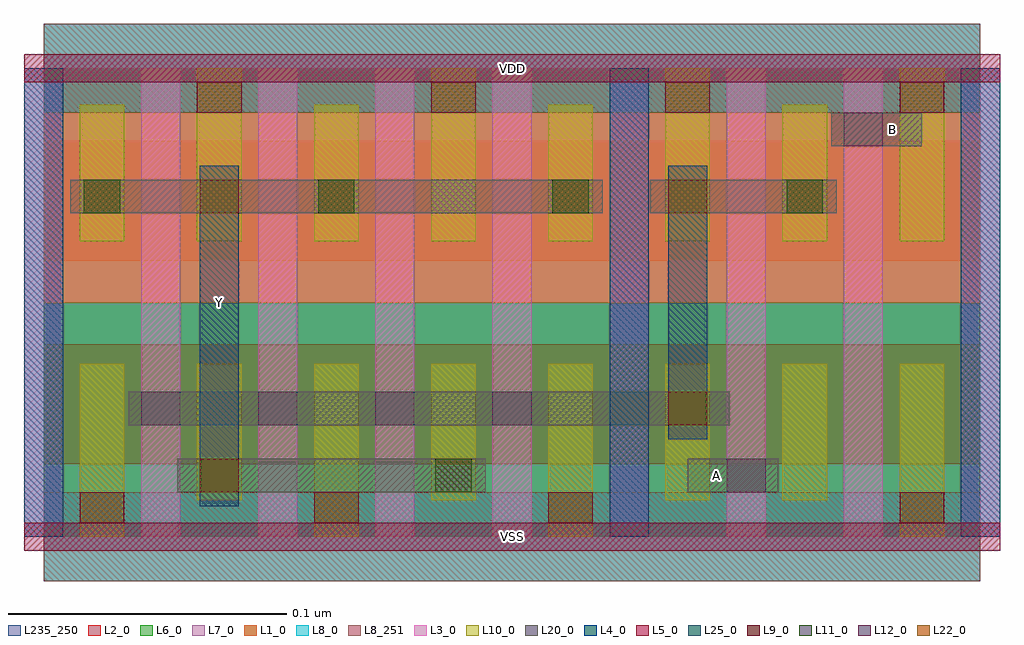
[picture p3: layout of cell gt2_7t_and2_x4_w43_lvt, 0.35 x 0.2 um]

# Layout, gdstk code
import gdstk
lib = gdstk.Library(unit=1e-6, precision=5e-10)
def R(c, l, rs):  # rectangles x0, y0, x1, y1
    for r in rs: c.add(gdstk.rectangle(r[:2], r[2:], *l))
def A(c, l, x, y, w, h, nx, ny, dx, dy):  # array of equal rectangles
    R(c, l, [(x+i*dx, y+j*dy, x+i*dx+w, y+j*dy+h) for i in range(nx) for j in range(ny)])
L1_0 = (1, 0)
L2_0 = (2, 0)
L3_0 = (3, 0)
L4_0 = (4, 0)
L5_0 = (5, 0)
L6_0 = (6, 0)
L7_0 = (7, 0)
L8_0 = (8, 0)
L8_251 = (8, 251)
L9_0 = (9, 0)
L10_0 = (10, 0)
L11_0 = (11, 0)
L12_0 = (12, 0)
L20_0 = (20, 0)
L22_0 = (22, 0)
L25_0 = (25, 0)
L235_250 = (235, 250)

gt2_7t_and2_x4_w43_lvt = lib.new_cell('gt2_7t_and2_x4_w43_lvt')
R(gt2_7t_and2_x4_w43_lvt, L1_0, [(0,0.084,0.336,0.168)])
R(gt2_7t_and2_x4_w43_lvt, L2_0, [(0,0.026,0.336,0.069), (0,0.099,0.336,0.142)])
A(gt2_7t_and2_x4_w43_lvt, L3_0, -0.007, 0, 0.014, 0.168, 9, 1, 0.042, 0)
R(gt2_7t_and2_x4_w43_lvt, L4_0, [(-0.007,0,0.007,0.168), (0.203,0,0.217,0.168), (0.329,0,0.343,0.168)])
R(gt2_7t_and2_x4_w43_lvt, L5_0, [(-0.007,-0.005,0.343,0.005), (-0.007,0.163,0.343,0.173)])
R(gt2_7t_and2_x4_w43_lvt, L6_0, [(0,0,0.336,0.084)])
R(gt2_7t_and2_x4_w43_lvt, L7_0, [(0,0.084,0.336,0.168)])
R(gt2_7t_and2_x4_w43_lvt, L8_0, [(0,-0.016,0.336,0.016), (0,0.152,0.336,0.184)])
R(gt2_7t_and2_x4_w43_lvt, L8_251, [(0,-0.016,0.336,0.016), (0,0.152,0.336,0.184)])
A(gt2_7t_and2_x4_w43_lvt, L9_0, 0.013, 0.005, 0.016, 0.011, 3, 1, 0.084, 0)
A(gt2_7t_and2_x4_w43_lvt, L9_0, 0.055, 0.152, 0.016, 0.011, 4, 1, 0.084, 0)
R(gt2_7t_and2_x4_w43_lvt, L9_0, [(0.307,0.005,0.323,0.016)])
A(gt2_7t_and2_x4_w43_lvt, L10_0, 0.013, 0, 0.016, 0.062, 3, 1, 0.084, 0)
A(gt2_7t_and2_x4_w43_lvt, L10_0, 0.055, 0.013, 0.016, 0.049, 3, 1, 0.084, 0)
A(gt2_7t_and2_x4_w43_lvt, L10_0, 0.013, 0.106, 0.016, 0.049, 4, 1, 0.084, 0)
A(gt2_7t_and2_x4_w43_lvt, L10_0, 0.055, 0.106, 0.016, 0.062, 4, 1, 0.084, 0)
R(gt2_7t_and2_x4_w43_lvt, L10_0, [(0.307,0,0.323,0.062), (0.265,0.013,0.281,0.062)])
A(gt2_7t_and2_x4_w43_lvt, L11_0, 0.0145, 0.116, 0.013, 0.012, 4, 1, 0.084, 0)
R(gt2_7t_and2_x4_w43_lvt, L11_0, [(0.0565,0.016,0.0695,0.028), (0.1405,0.016,0.1535,0.028), (0.2245,0.04,0.2375,0.052)])
A(gt2_7t_and2_x4_w43_lvt, L12_0, 0.035, 0.04, 0.014, 0.012, 4, 1, 0.042, 0)
R(gt2_7t_and2_x4_w43_lvt, L12_0, [(0.245,0.016,0.259,0.028), (0.287,0.14,0.301,0.152)])
R(gt2_7t_and2_x4_w43_lvt, L20_0, [(0.048,0.016,0.1585,0.028), (0.231,0.016,0.2635,0.028), (0.0305,0.04,0.246,0.052), (0.0095,0.116,0.2005,0.128), (0.2175,0.116,0.2845,0.128), (0.2825,0.14,0.315,0.152)])
R(gt2_7t_and2_x4_w43_lvt, L22_0, [(0.056,0.016,0.07,0.028), (0.224,0.04,0.238,0.052), (0.056,0.116,0.07,0.128), (0.224,0.116,0.238,0.128)])
R(gt2_7t_and2_x4_w43_lvt, L25_0, [(0.056,0.011,0.07,0.133), (0.224,0.035,0.238,0.133)])
R(gt2_7t_and2_x4_w43_lvt, L235_250, [(0,0,0.336,0.168)])
gt2_7t_and2_x4_w43_lvt.add(gdstk.Label('VSS', (0.168,0), layer=8, texttype=251))
gt2_7t_and2_x4_w43_lvt.add(gdstk.Label('VDD', (0.168,0.168), layer=8, texttype=251))
gt2_7t_and2_x4_w43_lvt.add(gdstk.Label('B', (0.3045,0.146), layer=20, texttype=251))
gt2_7t_and2_x4_w43_lvt.add(gdstk.Label('A', (0.2415,0.022), layer=20, texttype=251))
gt2_7t_and2_x4_w43_lvt.add(gdstk.Label('Y', (0.063,0.084), layer=25, texttype=251))

lib.write_gds('gt2_7t_and2_x4_w43_lvt.gds')
